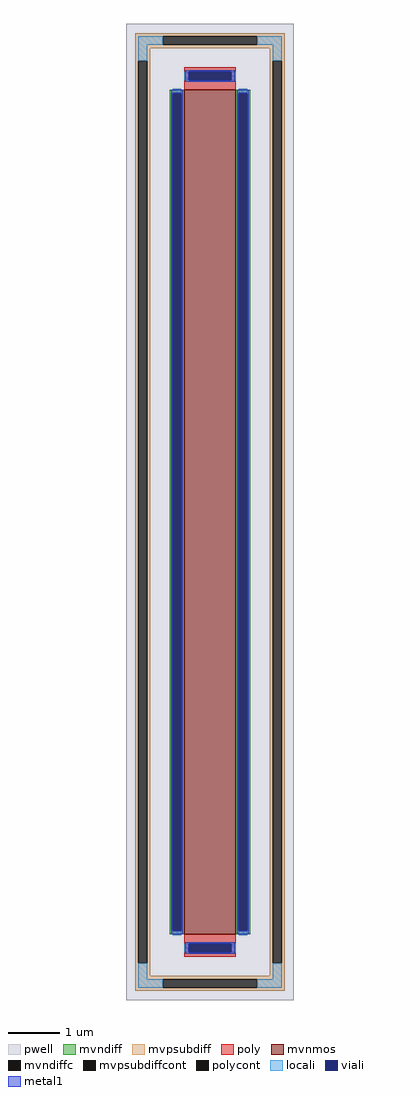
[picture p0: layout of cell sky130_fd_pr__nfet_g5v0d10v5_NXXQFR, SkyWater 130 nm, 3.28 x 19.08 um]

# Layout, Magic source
magic
tech sky130A
<< pwell >>
rect -164 -954 164 954
<< mvnmos >>
rect -50 -825 50 825
<< mvndiff >>
rect -79 819 -50 825
rect -79 -819 -73 819
rect -56 -819 -50 819
rect -79 -825 -50 -819
rect 50 819 79 825
rect 50 -819 56 819
rect 73 -819 79 819
rect 50 -825 79 -819
<< mvndiffc >>
rect -73 -819 -56 819
rect 56 -819 73 819
<< mvpsubdiff >>
rect -146 930 146 936
rect -146 913 -92 930
rect 92 913 146 930
rect -146 907 146 913
rect -146 882 -117 907
rect -146 -882 -140 882
rect -123 -882 -117 882
rect 117 882 146 907
rect -146 -907 -117 -882
rect 117 -882 123 882
rect 140 -882 146 882
rect 117 -907 146 -882
rect -146 -913 146 -907
rect -146 -930 -92 -913
rect 92 -930 146 -913
rect -146 -936 146 -930
<< mvpsubdiffcont >>
rect -92 913 92 930
rect -140 -882 -123 882
rect 123 -882 140 882
rect -92 -930 92 -913
<< poly >>
rect -50 861 50 869
rect -50 844 -42 861
rect 42 844 50 861
rect -50 825 50 844
rect -50 -844 50 -825
rect -50 -861 -42 -844
rect 42 -861 50 -844
rect -50 -869 50 -861
<< polycont >>
rect -42 844 42 861
rect -42 -861 42 -844
<< locali >>
rect -140 913 -92 930
rect 92 913 140 930
rect -140 882 -123 913
rect 123 882 140 913
rect -50 844 -42 861
rect 42 844 50 861
rect -73 819 -56 827
rect -73 -827 -56 -819
rect 56 819 73 827
rect 56 -827 73 -819
rect -50 -861 -42 -844
rect 42 -861 50 -844
rect -140 -913 -123 -882
rect 123 -913 140 -882
rect -140 -930 -92 -913
rect 92 -930 140 -913
<< viali >>
rect -42 844 42 861
rect -73 -819 -56 819
rect 56 -819 73 819
rect -42 -861 42 -844
<< metal1 >>
rect -48 861 48 864
rect -48 844 -42 861
rect 42 844 48 861
rect -48 841 48 844
rect -76 819 -53 825
rect -76 -819 -73 819
rect -56 -819 -53 819
rect -76 -825 -53 -819
rect 53 819 76 825
rect 53 -819 56 819
rect 73 -819 76 819
rect 53 -825 76 -819
rect -48 -844 48 -841
rect -48 -861 -42 -844
rect 42 -861 48 -844
rect -48 -864 48 -861
<< properties >>
string FIXED_BBOX -131 -921 131 921
string gencell sky130_fd_pr__nfet_g5v0d10v5
string library sky130
string parameters w 16.5 l 1.0 m 1 nf 1 diffcov 100 polycov 100 guard 1 glc 1 grc 1 gtc 1 gbc 1 tbcov 100 rlcov 100 topc 1 botc 1 poverlap 0 doverlap 1 lmin 0.50 wmin 0.42 compatible {sky130_fd_pr__nfet_01v8 sky130_fd_pr__nfet_01v8_lvt  sky130_fd_bs_flash__special_sonosfet_star  sky130_fd_pr__nfet_g5v0d10v5 sky130_fd_pr__nfet_05v0_nvt  sky130_fd_pr__nfet_03v3_nvt} full_metal 1 viasrc 100 viadrn 100 viagate 100 viagb 0 viagr 0 viagl 0 viagt 0
<< end >>
